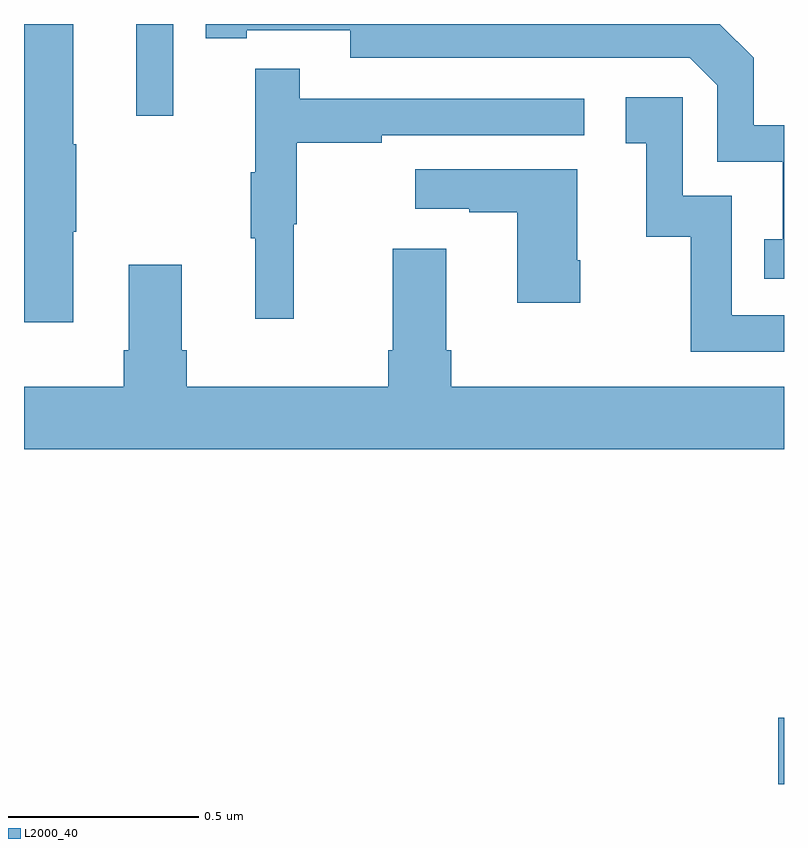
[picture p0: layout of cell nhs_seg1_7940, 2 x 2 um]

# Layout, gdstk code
import gdstk
lib = gdstk.Library(unit=1e-6, precision=1e-09)
def R(c, l, rs):  # rectangles x0, y0, x1, y1
    for r in rs: c.add(gdstk.rectangle(r[:2], r[2:], *l))
def P(c, l, *ps):  # polygons
    for p in ps: c.add(gdstk.Polygon(p, *l))
L2000_40 = (2000, 40)

nhs_seg1_7940 = lib.new_cell('nhs_seg1_7940')
R(nhs_seg1_7940, L2000_40, [(211.985,536.199,212,536.374), (210.296,537.957,210.393,538.199)])
P(nhs_seg1_7940, L2000_40, [(212,537.933),(211.92,537.933),(211.92,538.11),(211.831,538.199),(210.478,538.199),(210.478,538.162),(210.586,538.162),(210.586,538.182),(210.858,538.182),(210.858,538.11),(211.752,538.11),(211.824,538.038),(211.824,537.837),(211.997,537.837),(211.997,537.633),(211.948,537.633),(211.948,537.528),(212,537.528)],
  [(210.13,537.652),(210.138,537.652),(210.138,537.882),(210.13,537.882),(210.13,538.199),(210,538.199),(210,537.414),(210.13,537.414)],
  [(210.71,537.672),(210.718,537.672),(210.718,537.886),(210.941,537.886),(210.941,537.906),(211.474,537.906),(211.474,538.002),(210.725,538.002),(210.725,538.081),(210.608,538.081),(210.608,537.809),(210.597,537.809),(210.597,537.635),(210.608,537.635),(210.608,537.423),(210.71,537.423)],
  [(212,537.432),(211.863,537.432),(211.863,537.747),(211.734,537.747),(211.734,538.006),(211.584,538.006),(211.584,537.885),(211.637,537.885),(211.637,537.639),(211.755,537.639),(211.755,537.336),(212,537.336)],
  [(211.464,537.577),(211.456,537.577),(211.456,537.817),(211.029,537.817),(211.029,537.713),(211.172,537.713),(211.172,537.703),(211.298,537.703),(211.298,537.465),(211.464,537.465)],
  [(212,537.244),(211.124,537.244),(211.124,537.34),(211.111,537.34),(211.111,537.607),(210.971,537.607),(210.971,537.34),(210.959,537.34),(210.959,537.244),(210.428,537.244),(210.428,537.34),(210.415,537.34),(210.415,537.565),(210.275,537.565),(210.275,537.34),(210.263,537.34),(210.263,537.244),(210,537.244),(210,537.08),(212,537.08)])

lib.write_gds('nhs_seg1_7940.gds')
